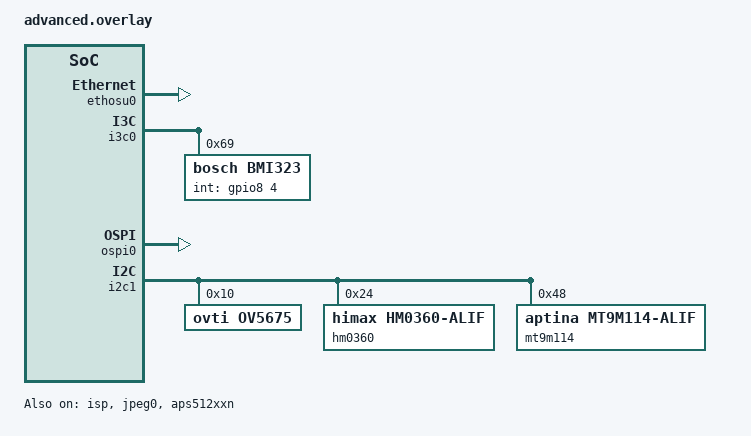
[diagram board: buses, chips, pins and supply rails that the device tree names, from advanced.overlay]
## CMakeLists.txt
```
# SPDX-FileCopyrightText: Copyright The Zephyr Project Contributors
# SPDX-License-Identifier: Apache-2.0
cmake_minimum_required(VERSION 3.20.0)
find_package(Zephyr REQUIRED HINTS $ENV{ZEPHYR_BASE})
project(alif_driver_build)
target_sources(app PRIVATE src/main.c)
```

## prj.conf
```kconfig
# SPDX-License-Identifier: Apache-2.0
CONFIG_ADC=y
CONFIG_DAC=y
CONFIG_COMPARATOR=y
CONFIG_I2C=y
CONFIG_SPI=y
CONFIG_I2S=y
CONFIG_DMA=y
CONFIG_COUNTER=y
CONFIG_PWM=y
CONFIG_SENSOR=y
CONFIG_CRC_DRIVER=y
CONFIG_ENTROPY_GENERATOR=y
CONFIG_HWINFO=y
CONFIG_FLASH=y
CONFIG_WATCHDOG=y
CONFIG_CAN=y
CONFIG_HEAP_MEM_POOL_SIZE=4096
```

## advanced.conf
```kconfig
# SPDX-License-Identifier: Apache-2.0
CONFIG_VIDEO_ALIF_CAM_EXTENDED=y
CONFIG_ETHOS_U=y
CONFIG_I3C=y
CONFIG_MEMC=y
```

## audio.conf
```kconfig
# SPDX-License-Identifier: Apache-2.0
CONFIG_AUDIO=y
CONFIG_I2C=y
CONFIG_I2S=y
CONFIG_DMA=y
CONFIG_WM8904=y
CONFIG_SI570=y
CONFIG_DISPLAY=y
CONFIG_FB_USES_DTCM_REGION=y
CONFIG_HEAP_MEM_POOL_SIZE=4096
```

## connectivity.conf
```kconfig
# SPDX-License-Identifier: Apache-2.0
CONFIG_NETWORKING=y
CONFIG_NET_L2_ETHERNET=y
CONFIG_ETH_DRIVER=y
CONFIG_NET_IPV4=y
CONFIG_NET_IPV6=n
CONFIG_UDC_DRIVER=y
CONFIG_DISK_ACCESS=y
CONFIG_SDMMC_STACK=y
CONFIG_SDHC=y
CONFIG_USE_ALIF_HAL_OSPI=y
```

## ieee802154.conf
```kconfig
# SPDX-License-Identifier: Apache-2.0
CONFIG_NETWORKING=y
CONFIG_IEEE802154=y
CONFIG_NET_L2_IEEE802154=y
CONFIG_NET_IPV6=y
CONFIG_NET_IPV4=n
CONFIG_SERIAL=y
CONFIG_UART_INTERRUPT_DRIVEN=y
CONFIG_HEAP_MEM_POOL_SIZE=8192
```

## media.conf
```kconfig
# SPDX-License-Identifier: Apache-2.0
CONFIG_VIDEO=y
CONFIG_VIDEO_BUFFER_POOL_HEAP_SIZE=65536
CONFIG_DISPLAY=y
CONFIG_AUDIO=y
CONFIG_AUDIO_DMIC=y
```

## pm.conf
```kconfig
# SPDX-License-Identifier: Apache-2.0
CONFIG_PM=y
CONFIG_PM_DEVICE=y
```

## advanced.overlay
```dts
/* SPDX-License-Identifier: Apache-2.0 */
&isp {
	status = "okay";
	port {
		isp_ep_in: endpoint { remote-endpoint-label = "cam_isp_ep_out"; };
	};
};
&cam {
	ports {
		port@2 {
			reg = <2>;
			cam_isp_ep_out: endpoint { remote-endpoint-label = "isp_ep_in"; };
		};
	};
};
&jpeg0 { status = "okay"; };
&ethosu0 { status = "okay"; };
&i3c0 { status = "okay"; };

&ospi0 { status = "okay"; };
&aps512xxn { status = "okay"; };

&gpio8 { status = "okay"; };
&i3c0 {
 bmi323: bmi323@69000003b810431000 {
  compatible = "bosch,bmi323";
  reg = <0x69 0x03b8 0x10431000>;
  assigned-address = <0x0a>;
  int-gpios = <&gpio8 4 GPIO_ACTIVE_HIGH>;
 };
};
&i2c1 {
 ov5675: camera@10 {
  compatible = "ovti,ov5675";
  reg = <0x10>;
 };
};

&i2c1 {
 hm0360: camera@24 { compatible = "himax,hm0360-alif"; reg = <0x24>; };
 mt9m114: camera@48 { compatible = "aptina,mt9m114-alif"; reg = <0x48>; };
};
```

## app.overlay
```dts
/* SPDX-License-Identifier: Apache-2.0 */
/* Build coverage only: these pins are not a simultaneous board wiring profile. */
&pinctrl {
	test_pwm: test-pwm {
		group0 { pinmux = <PIN_P0_2__UT1_T0_A>; };
	};
	test_qdec: test-qdec {
		group0 { pinmux = <PIN_P0_4__UT2_T0_A>, <PIN_P0_5__UT2_T1_A>; };
	};
};
&adc0 { status = "okay"; };
&dac0 { status = "okay"; };
&cmp0 { status = "okay"; };
&gpio14 { status = "okay"; };
&i2c0 { status = "okay"; };
&lpi2c0 { status = "okay"; };
&spi0 { status = "okay"; };
&i2s0 { status = "okay"; };
&dma0 { status = "okay"; };
&evtrtr0 { status = "okay"; };
&rtc0 { status = "okay"; };
&timer0 { status = "okay"; };
&crc0 { status = "okay"; };
&rng { status = "okay"; };
&wdog0 { status = "okay"; };
&can0 { status = "okay"; };
&utimer0 {
	status = "okay";
	counter { status = "okay"; };
};
&utimer1 {
	status = "okay";
	pwm1 {
		status = "okay";
		pinctrl-0 = <&test_pwm>;
		pinctrl-names = "default";
	};
};
&utimer2 {
	status = "okay";
	qdec {
		status = "okay";
		pinctrl-0 = <&test_qdec>;
		pinctrl-names = "default";
	};
};
```

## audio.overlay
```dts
/* Copyright Alif Semiconductor - All Rights Reserved.
 * Use, distribution and modification of this code is permitted under the
 * terms stated in the Alif Semiconductor Software License Agreement
 *
 * You should have received a copy of the Alif Semiconductor Software
 * License Agreement with this file. If not, please write to:
 * contact@alifsemi.com, or visit: https://alifsemi.com/license
 *
 */

#include <dt-bindings/pinctrl/balletto-pinctrl.h>
#include <dt-bindings/i2c/i2c.h>
#include <dt-bindings/gpio/gpio.h>

#define I2S0_IRQ_NUM  141
#define I2S0_IRQ_PRIO 3

#define I2S0_DMA_RX_CH  2
#define I2S0_DMA_RX_REQ 24
#define I2S0_DMA_TX_CH  3
#define I2S0_DMA_TX_REQ 28

#define AUDIO_DMA_ENABLED 1


/ {
	aliases {
		audio-codec = &wm8904;
		i2s-bus = &i2s0;
	};
};

&dma2 {
	status = "okay";
	dma-channels = <8>;
	interrupts = <0 3>, <1 3>, <2 3>, <3 3>, <4 3>, <5 3>,
		     <6 3>, <7 3>, <32 3>;
	interrupt-names = "channel0", "channel1",
			  "channel2", "channel3",
			  "channel4", "channel5",
			  "channel6", "channel7",
			  "abort";
};

&i2c1 {
	clock-frequency = <I2C_BITRATE_STANDARD>;
	status = "okay";

	wm8904: wm8904@1a {
		compatible = "cirrus,wm8904";
		reg = <0x1a>;
		status = "okay";
	};
};

#include <zephyr/dt-bindings/dma/alif_dma_event_router.h>

&evtrtr2 {
	status = "okay";
};

&i2s0 {
	/delete-property/ clock-frequency;
	/delete-property/ driver-instance;
	compatible = "alif,i2s-sync";
	interrupts = <I2S0_IRQ_NUM I2S0_IRQ_PRIO>;
	bit-depth = <16>;
	sample-rate = <48000>;
	status = "okay";
#if AUDIO_DMA_ENABLED
	/*
	 * Cell 0: ALIF_DMA_ENCODE(channel, dma_group, handshake)
	 *   - channel: Physical DMA channel (2 for RX, 3 for TX)
	 *   - dma_group: Input source selection (1) - selects which peripheral input
	 *   - handshake: Enable hardware handshaking (1 for I2S)
	 * Cell 1: Peripheral request number (24 for RX, 28 for TX)
	 */
	dmas = <&evtrtr2 ALIF_DMA_ENCODE(I2S0_DMA_RX_CH, 1, 1) I2S0_DMA_RX_REQ>,
	       <&evtrtr2 ALIF_DMA_ENCODE(I2S0_DMA_TX_CH, 1, 1) I2S0_DMA_TX_REQ>;
	dma-names = "rxdma", "txdma";
#endif
};

&pinctrl_i2c1 {
	group0 {
		pinmux = <PIN_P7_3__I2C1_SCL_C>,
			 <PIN_P7_2__I2C1_SDA_C>;
	};
};

&pinctrl_i2s0 {
	group0 {
		pinmux = <PIN_P2_4__I2S0_SDI_B>,
			 <PIN_P2_5__I2S0_SDO_B>,
			 <PIN_P1_7__I2S0_WS_A>,
			 <PIN_P1_6__I2S0_SCLK_A>;
	};
};

/* Disable unnecessary nodes */
&i2s1 {
	status = "disabled";
};

&uart_ahi {
	status = "disabled";
};
&i2c1 {
 si570: oscillator@55 { compatible = "skyworks,si570"; reg = <0x55>; factory-fout = <156250000>; };
};
&mipi_dsi { status = "okay"; };
&ili9488 { status = "okay"; };

&gpio8 { status = "okay"; };
&dtcm { reg = <0x2000a000 DT_SIZE_K(984)>; };
&ns {
	reg = <0x20100000 DT_SIZE_K(512)>;
	status = "okay";
};
```

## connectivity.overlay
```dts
/* SPDX-License-Identifier: Apache-2.0 */
/* Reserve the final 96 KiB of HP DTCM for non-secure DMA buffers. */
&dtcm { reg = <0x20000000 DT_SIZE_K(928)>; };
&ns {
	reg = <0x200e8000 DT_SIZE_K(96)>;
	status = "okay";
};
&ethernet { status = "okay"; };
&mdio { status = "okay"; };
&ethernet_phy { status = "okay"; };
&usb { status = "okay"; };
&sdhc { status = "okay"; };
&gpio3 { status = "okay"; };
&ospi1 { status = "okay"; };
&ospi_flash { status = "okay"; };
```

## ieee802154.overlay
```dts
/* SPDX-License-Identifier: Apache-2.0 */
&uart_ahi { status = "okay"; };
&ieee802154 { status = "okay"; };
```

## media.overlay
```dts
/* Copyright (C) 2025 Alif Semiconductor - All Rights Reserved.
 * Use, distribution and modification of this code are permitted under the
 * terms stated in the Alif Semiconductor Software License Agreement.
 *
 * You should have received a copy of the Alif Semiconductor Software
 * License Agreement with this file. If not, please write to:
 * contact@alifsemi.com, or visit: https://alifsemi.com/license
 */

#include <dt-bindings/pinctrl/ensemble-pinctrl.h>
#include <dt-bindings/i2c/i2c.h>
#include <dt-bindings/gpio/gpio.h>
#include <dt-bindings/video/video-interfaces.h>

&gpio7 {
	status = "okay";
};

&gpio9 {
	status = "okay";
};

&i2c1 {
	status = "okay";

	arx3a0: arx3a0@36 {
		compatible = "onnn,arx3a0";
		reg = <0x36>;
		pinctrl-0 = < &pinctrl_cam_xvclk >;
		pinctrl-names = "default";
		reset-gpios = <&gpio9 1 GPIO_ACTIVE_HIGH>;
		power-gpios = <&gpio7 5 GPIO_ACTIVE_HIGH>;

		status = "okay";

		port {
			arx3a0_csi2_ep_out: endpoint {
				bus-type = <VIDEO_BUS_TYPE_CSI2_DPHY>;
				link-frequencies = < 400000000 >;
				data-lanes = <1 2>;
				clock-lane = <0>;

				remote-endpoint-label = "csi2_ep_in";
			};
		};
	};
};

&cam {
	status = "okay";

	pinctrl-0 = <&pinctrl_cam_xvclk>;
	pinctrl-names = "default";

	ports {
		#address-cells = <1>;
		#size-cells = <0>;

		/* MIPI CSI-2 bus endpoint. */
		port@0 {
			reg = <0>;
			cam_csi2_ep_in: endpoint {
				remote-endpoint-label = "csi2_ep_out";
			};
		};

		/* Video buffer output endpoint. */
		port@1 {
			reg = <1>;
			cam_mem_ep_out: endpoint {
				remote-endpoint-label = "application";
			};
		};
	};
};

&csi {
	status = "okay";

	/* RX-DPHY */
	phy-if = <&dphy 0>;
	ports {
		#address-cells = <1>;
		#size-cells = <0>;
		port@0 {
			reg = <0>;
			csi2_ep_in: endpoint {
				bus-type = <VIDEO_BUS_TYPE_CSI2_DPHY>;
				data-lanes = <1 2>;
				clock-lane = <0>;

				remote-endpoint-label = "arx3a0_csi2_ep_out";
			};
		};
		port@2 {
			reg = <2>;
			csi2_ep_out: endpoint {
				remote-endpoint-label = "cam_csi2_ep_in";
				bus-type = <VIDEO_BUS_TYPE_PARALLEL>;
			};
		};
	};
};

&dphy { status = "okay"; };
&pdm { status = "okay"; };
&mipi_dsi { status = "okay"; };
&gpio6 { status = "okay"; };
&lpgpio { status = "okay"; };
```

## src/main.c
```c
/* SPDX-FileCopyrightText: Copyright The Zephyr Project Contributors
 * SPDX-License-Identifier: Apache-2.0
 */

int main(void)
{
	return 0;
}
```
